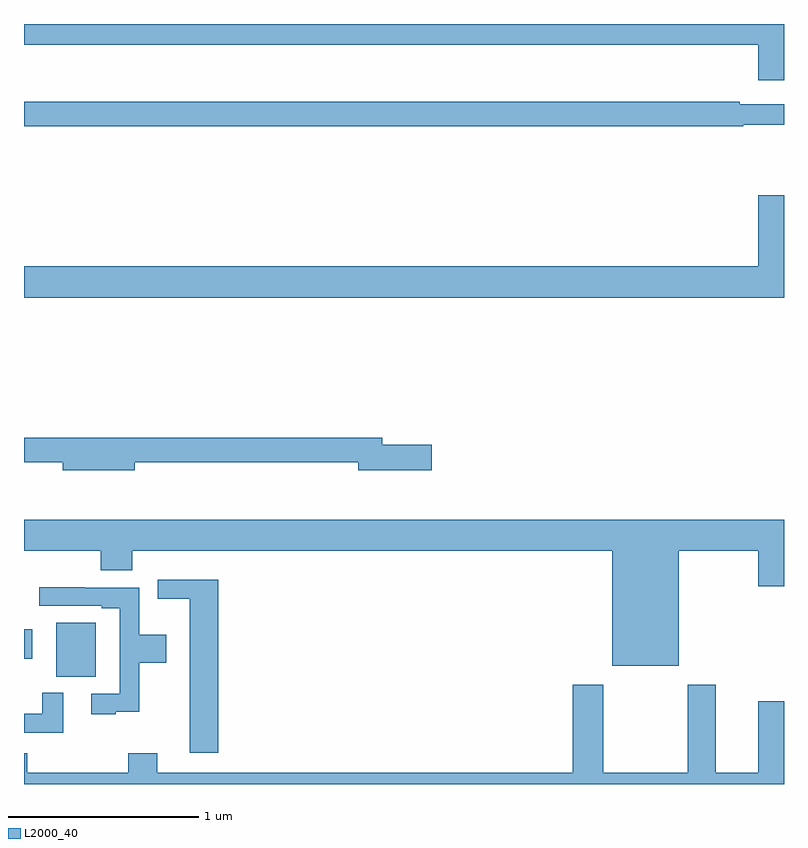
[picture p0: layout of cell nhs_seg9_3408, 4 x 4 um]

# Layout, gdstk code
import gdstk
lib = gdstk.Library(unit=1e-6, precision=1e-09)
def R(c, l, rs):  # rectangles x0, y0, x1, y1
    for r in rs: c.add(gdstk.rectangle(r[:2], r[2:], *l))
def P(c, l, *ps):  # polygons
    for p in ps: c.add(gdstk.Polygon(p, *l))
L2000_40 = (2000, 40)

nhs_seg9_3408 = lib.new_cell('nhs_seg9_3408')
R(nhs_seg9_3408, L2000_40, [(305.171,1221.065,305.377,1221.349), (305,1221.159,305.044,1221.315)])
P(nhs_seg9_3408, L2000_40, [(309,1224.5),(305,1224.5),(305,1224.392),(308.864,1224.392),(308.864,1224.204),(309,1224.204)],
  [(308.786,1223.97),(309,1223.97),(309,1224.078),(308.768,1224.078),(308.768,1224.091),(305,1224.091),(305,1223.962),(308.786,1223.962)],
  [(309,1223.599),(308.864,1223.599),(308.864,1223.224),(305,1223.224),(305,1223.06),(309,1223.06)],
  [(305.584,1222.194),(306.758,1222.194),(306.758,1222.151),(307.147,1222.151),(307.147,1222.286),(306.886,1222.286),(306.886,1222.322),(305,1222.322),(305,1222.194),(305.204,1222.194),(305.204,1222.151),(305.584,1222.151)],
  [(308.446,1221.728),(308.864,1221.728),(308.864,1221.54),(309,1221.54),(309,1221.892),(305,1221.892),(305,1221.728),(305.405,1221.728),(305.405,1221.626),(305.57,1221.626),(305.57,1221.728),(308.096,1221.728),(308.096,1221.122),(308.446,1221.122)],
  [(306.023,1221.574),(305.703,1221.574),(305.703,1221.476),(305.873,1221.476),(305.873,1220.664),(306.023,1220.664)],
  [(305.483,1220.879),(305.606,1220.879),(305.606,1221.139),(305.749,1221.139),(305.749,1221.286),(305.606,1221.286),(305.606,1221.534),(305.321,1221.534),(305.321,1221.536),(305.079,1221.536),(305.079,1221.438),(305.408,1221.438),(305.408,1221.426),(305.505,1221.426),(305.505,1220.976),(305.355,1220.976),(305.355,1220.868),(305.483,1220.868)],
  [(309,1220.935),(308.864,1220.935),(308.864,1220.56),(308.641,1220.56),(308.641,1221.022),(308.494,1221.022),(308.494,1220.56),(308.049,1220.56),(308.049,1221.022),(307.889,1221.022),(307.889,1220.56),(305.701,1220.56),(305.701,1220.662),(305.549,1220.662),(305.549,1220.56),(305.018,1220.56),(305.018,1220.662),(305,1220.662),(305,1220.5),(309,1220.5)],
  [(305.206,1220.98),(305.097,1220.98),(305.097,1220.87),(305,1220.87),(305,1220.769),(305.206,1220.769)])

lib.write_gds('nhs_seg9_3408.gds')
